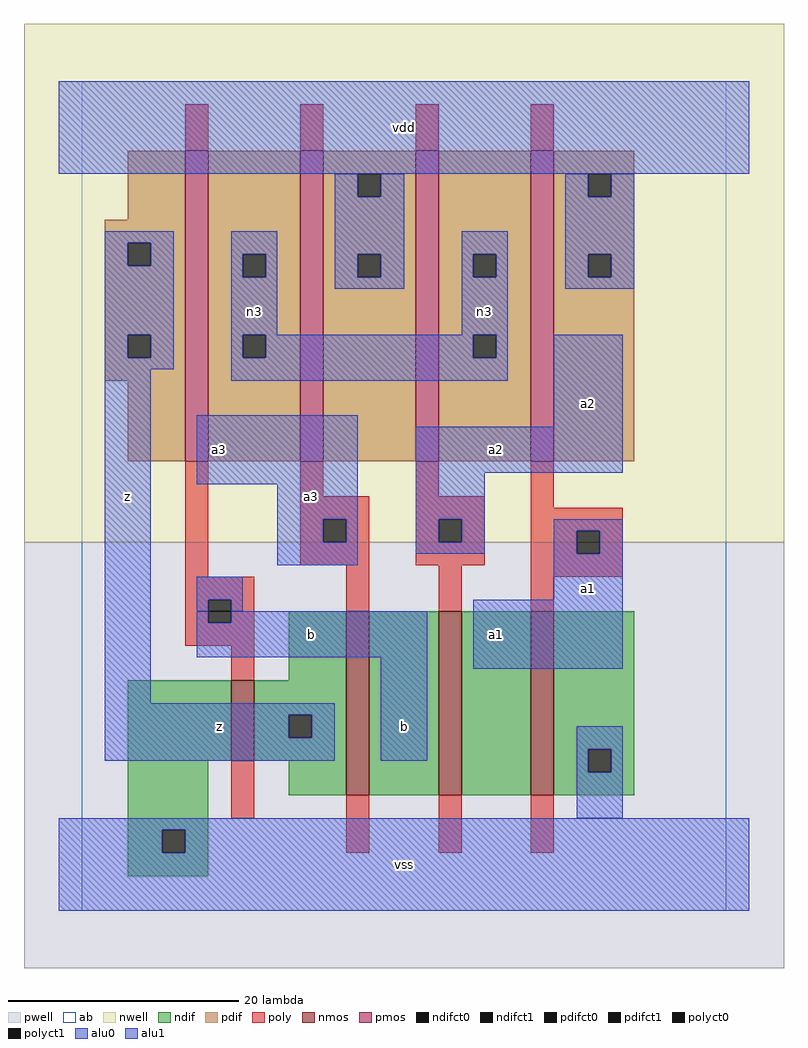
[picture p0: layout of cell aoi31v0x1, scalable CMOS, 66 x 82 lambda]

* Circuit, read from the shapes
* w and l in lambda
.subckt aoi31v0x1 a1 a2 a3 b n3 vdd vss z
M1 z b vss VSUBS nfet w=7 l=2
M2 n1 a3 z VSUBS nfet w=16 l=2
M3 n2 a2 n1 VSUBS nfet w=16 l=2
M4 vss a1 n2 VSUBS nfet w=16 l=2
M5 n3 b z n4 pfet w=27 l=2
M6 vdd a3 n3 n4 pfet w=27 l=2
M7 n3 a2 vdd n4 pfet w=27 l=2
M8 vdd a1 n3 n4 pfet w=27 l=2
.ends

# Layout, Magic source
magic
tech scmos
<< ab >>
rect 0 0 56 72
<< nwell >>
rect -5 32 61 77
<< pwell >>
rect -5 -5 61 32
<< poly >>
rect 9 66 11 70
rect 19 66 21 70
rect 29 66 31 70
rect 39 66 41 70
rect 9 29 11 39
rect 19 36 21 39
rect 29 36 31 39
rect 19 34 25 36
rect 19 32 21 34
rect 23 32 25 34
rect 19 30 25 32
rect 29 34 35 36
rect 29 32 31 34
rect 33 32 35 34
rect 29 30 35 32
rect 39 35 41 39
rect 39 33 47 35
rect 39 31 43 33
rect 45 31 47 33
rect 9 27 15 29
rect 9 25 11 27
rect 13 25 15 27
rect 23 26 25 30
rect 31 26 33 30
rect 39 29 47 31
rect 39 26 41 29
rect 9 23 15 25
rect 13 20 15 23
rect 13 8 15 13
rect 23 5 25 10
rect 31 5 33 10
rect 39 5 41 10
<< ndif >>
rect 18 20 23 26
rect 4 13 13 20
rect 15 17 23 20
rect 15 15 18 17
rect 20 15 23 17
rect 15 13 23 15
rect 4 7 11 13
rect 18 10 23 13
rect 25 10 31 26
rect 33 10 39 26
rect 41 14 48 26
rect 41 12 44 14
rect 46 12 48 14
rect 41 10 48 12
rect 4 5 7 7
rect 9 5 11 7
rect 4 3 11 5
<< pdif >>
rect 4 60 9 66
rect 2 58 9 60
rect 2 56 4 58
rect 6 56 9 58
rect 2 50 9 56
rect 2 48 4 50
rect 6 48 9 50
rect 2 46 9 48
rect 4 39 9 46
rect 11 57 19 66
rect 11 55 14 57
rect 16 55 19 57
rect 11 50 19 55
rect 11 48 14 50
rect 16 48 19 50
rect 11 39 19 48
rect 21 64 29 66
rect 21 62 24 64
rect 26 62 29 64
rect 21 57 29 62
rect 21 55 24 57
rect 26 55 29 57
rect 21 39 29 55
rect 31 57 39 66
rect 31 55 34 57
rect 36 55 39 57
rect 31 50 39 55
rect 31 48 34 50
rect 36 48 39 50
rect 31 39 39 48
rect 41 64 48 66
rect 41 62 44 64
rect 46 62 48 64
rect 41 57 48 62
rect 41 55 44 57
rect 46 55 48 57
rect 41 39 48 55
<< alu1 >>
rect -2 64 58 72
rect 2 58 8 59
rect 2 56 4 58
rect 6 56 8 58
rect 2 50 8 56
rect 2 48 4 50
rect 6 48 8 50
rect 2 47 8 48
rect 2 18 6 47
rect 10 37 24 43
rect 41 42 47 50
rect 17 34 24 37
rect 17 32 21 34
rect 23 32 24 34
rect 17 30 24 32
rect 29 38 47 42
rect 29 34 35 38
rect 29 32 31 34
rect 33 32 35 34
rect 29 31 35 32
rect 41 33 47 34
rect 41 31 43 33
rect 45 31 47 33
rect 41 27 47 31
rect 10 25 11 26
rect 13 25 30 26
rect 10 22 30 25
rect 2 17 22 18
rect 2 15 18 17
rect 20 15 22 17
rect 2 13 22 15
rect 26 13 30 22
rect 34 21 47 27
rect -2 7 58 8
rect -2 5 7 7
rect 9 5 58 7
rect -2 0 58 5
<< nmos >>
rect 13 13 15 20
rect 23 10 25 26
rect 31 10 33 26
rect 39 10 41 26
<< pmos >>
rect 9 39 11 66
rect 19 39 21 66
rect 29 39 31 66
rect 39 39 41 66
<< polyct0 >>
rect 11 26 13 27
<< polyct1 >>
rect 21 32 23 34
rect 31 32 33 34
rect 43 31 45 33
rect 11 25 13 26
<< ndifct0 >>
rect 44 12 46 14
<< ndifct1 >>
rect 18 15 20 17
rect 7 5 9 7
<< pdifct0 >>
rect 14 55 16 57
rect 14 48 16 50
rect 24 62 26 64
rect 24 55 26 57
rect 34 55 36 57
rect 34 48 36 50
rect 44 62 46 64
rect 44 55 46 57
<< pdifct1 >>
rect 4 56 6 58
rect 4 48 6 50
<< alu0 >>
rect 22 62 24 64
rect 26 62 28 64
rect 13 57 17 59
rect 13 55 14 57
rect 16 55 17 57
rect 13 50 17 55
rect 22 57 28 62
rect 42 62 44 64
rect 46 62 48 64
rect 22 55 24 57
rect 26 55 28 57
rect 22 54 28 55
rect 33 57 37 59
rect 33 55 34 57
rect 36 55 37 57
rect 33 50 37 55
rect 42 57 48 62
rect 42 55 44 57
rect 46 55 48 57
rect 42 54 48 55
rect 13 48 14 50
rect 16 48 34 50
rect 36 48 37 50
rect 13 46 37 48
rect 10 27 14 29
rect 10 26 11 27
rect 13 26 14 27
rect 43 14 47 16
rect 43 12 44 14
rect 46 12 47 14
rect 43 8 47 12
<< labels >>
rlabel alu0 15 52 15 52 6 n3
rlabel alu0 35 52 35 52 6 n3
rlabel alu1 4 36 4 36 6 z
rlabel alu1 12 16 12 16 6 z
rlabel alu1 20 24 20 24 6 b
rlabel alu1 20 36 20 36 6 a3
rlabel alu1 12 40 12 40 6 a3
rlabel alu1 28 4 28 4 6 vss
rlabel alu1 28 16 28 16 6 b
rlabel alu1 36 24 36 24 6 a1
rlabel alu1 36 40 36 40 6 a2
rlabel alu1 28 68 28 68 6 vdd
rlabel alu1 44 28 44 28 6 a1
rlabel alu1 44 44 44 44 6 a2
<< end >>
